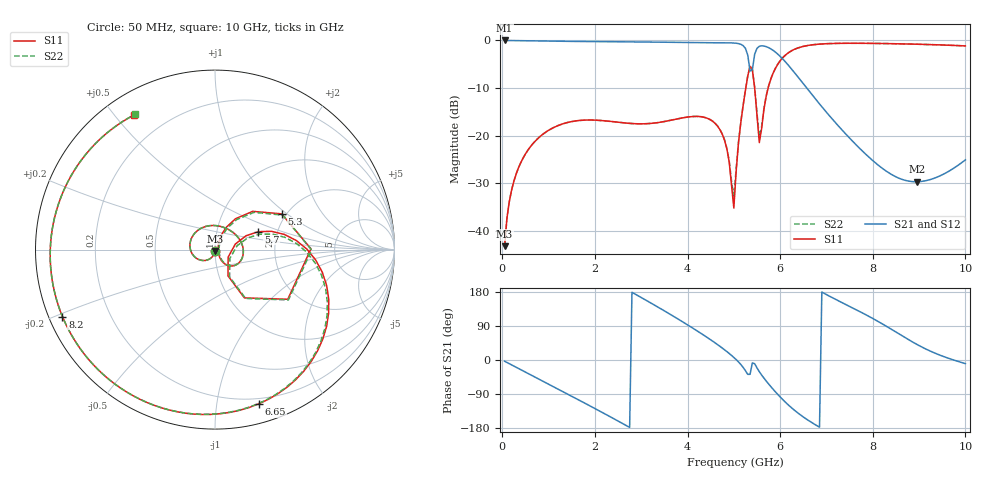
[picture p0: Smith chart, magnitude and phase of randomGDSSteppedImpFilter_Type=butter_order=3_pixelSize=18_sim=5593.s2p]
! freq	dB(S11)	phase(S11)	dB(S12)	phase(S12)
!  dB(S21)	phase(S21)	dB(S22)	phase(S22)
!S-par simulation data
#  GHz  S  DB  R 50
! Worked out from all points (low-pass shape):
!   200 points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, 50 MHz to 10 GHz, reference 50 ohm
!   highest |S21| = -0.01 dB at 50 MHz (marker M1); lowest = -29.7 dB at 8.95 GHz (marker M2)
!   |S21| within 3 dB of the highest: start of sweep to 5.298 GHz; 5.448 GHz to 5.963 GHz (514.4 MHz wide, 9.02 % of centre)
!   lowest |S11| = -43.3 dB at 50 MHz (marker M3), VSWR 1.01, Z = 50 - j0.687 ohm
!   |S11| at or under -10 dB: start of sweep to 5.258 GHz; 5.45 GHz to 5.741 GHz (291.2 MHz wide, 5.21 % of centre)
!   |S22| runs from -43.3 to -0.6 dB; largest |S21 - S12| = 0
!   S11 on the Smith chart (normalised r, x): 50 MHz: 1.00, -0.01; 5.3 GHz: 1.89, +0.92; 5.7 GHz: 1.59, +0.34; 6.65 GHz: 0.15, -1.31; 8.2 GHz: 0.04, -0.21; 10 GHz: 0.09, +0.56
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0.05  -43.26 -89.6  -0.01 -3.3  -0.01 -3.3  -43.26 -89.6
0.2  -31.49 -102.0  -0.03 -12.9  -0.03 -12.9  -31.50 -102.1
0.5  -23.86 -122.1  -0.06 -32.0  -0.06 -32.0  -23.87 -122.3
1.15  -18.12 -163.8  -0.16 -73.4  -0.16 -73.4  -18.12 -164.5
1.75  -16.77 157.8  -0.23 -111.8  -0.23 -111.8  -16.77 156.7
2.6  -17.31 102.3  -0.29 -167.8  -0.29 -167.8  -17.31 100.2
3.4  -17.22 47.0  -0.37 136.8  -0.37 136.8  -17.22 44.8
4.25  -16.00 -15.7  -0.48 73.5  -0.48 73.5  -15.99 -16.6
4.75  -19.72 -54.1  -0.49 31.6  -0.49 31.6  -19.66 -52.9
5  -35.25 12.9  -0.54 6.8  -0.54 6.8  -32.93 9.8
5.05  -27.53 62.0  -0.59 1.1  -0.59 1.1  -26.98 54.5
5.3  -7.51 28.2  -3.07 -37.9  -3.07 -37.9  -7.46 27.0
5.4  -6.18 -34.3  -6.17 -7.5  -6.17 -7.5  -6.09 -34.4
5.55  -21.48 -29.8  -1.24 -30.8  -1.24 -30.8  -20.33 -30.7
5.7  -11.65 22.4  -1.31 -55.7  -1.31 -55.7  -11.57 19.0
6.1  -3.21 -23.5  -4.36 -109.8  -4.36 -109.8  -3.21 -25.0
6.65  -0.98 -74.1  -10.95 -162.6  -10.95 -162.6  -0.98 -75.1
6.7  -0.92 -77.8  -11.56 -166.4  -11.56 -166.4  -0.92 -78.7
8.2  -0.65 -156.3  -26.85 95.8  -26.85 95.8  -0.65 -156.8
8.35  -0.67 -162.8  -27.86 84.9  -27.86 84.9  -0.67 -163.4
8.95  -0.79 171.1  -29.72 41.3  -29.72 41.3  -0.79 170.6
10  -1.16 121.2  -25.12 -9.6  -25.12 -9.6  -1.16 120.6
